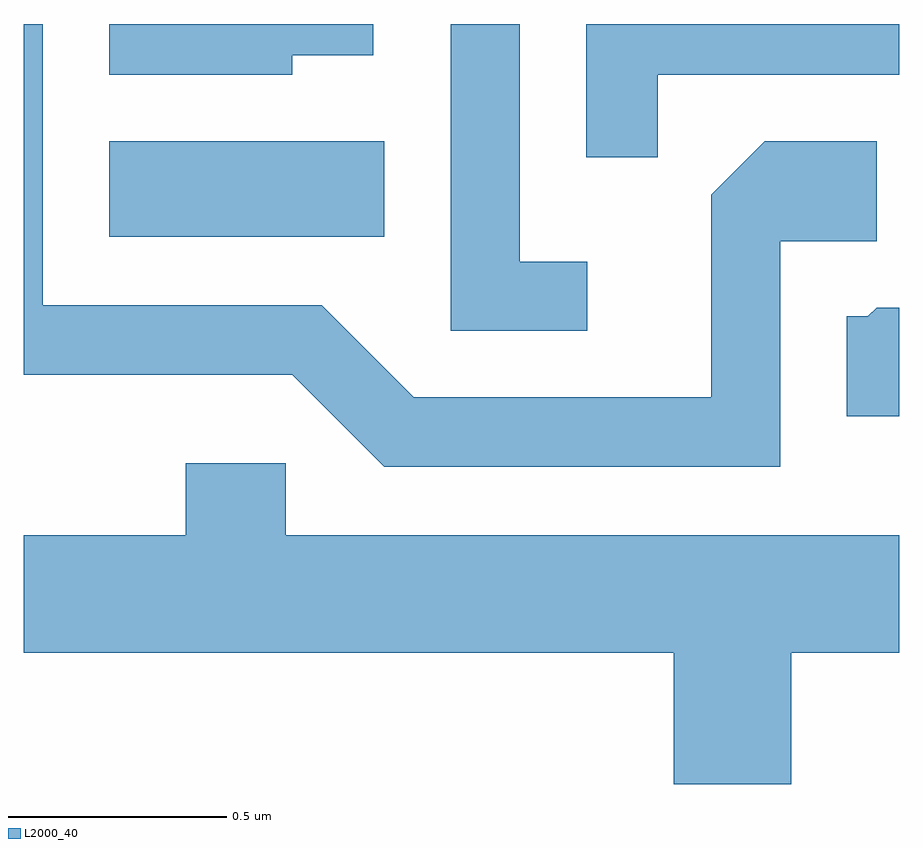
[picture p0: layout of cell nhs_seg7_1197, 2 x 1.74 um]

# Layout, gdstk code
import gdstk
lib = gdstk.Library(unit=1e-6, precision=1e-09)
def R(c, l, rs):  # rectangles x0, y0, x1, y1
    for r in rs: c.add(gdstk.rectangle(r[:2], r[2:], *l))
def P(c, l, *ps):  # polygons
    for p in ps: c.add(gdstk.Polygon(p, *l))
L2000_40 = (2000, 40)

nhs_seg7_1197 = lib.new_cell('nhs_seg7_1197')
R(nhs_seg7_1197, L2000_40, [(193.806,1770.766,194.434,1770.984)])
P(nhs_seg7_1197, L2000_40, [(194.224,1771.181),(194.409,1771.181),(194.409,1771.252),(193.806,1771.252),(193.806,1771.136),(194.224,1771.136)],
  [(195.059,1771.136),(195.611,1771.136),(195.611,1771.252),(194.896,1771.252),(194.896,1770.948),(195.059,1770.948)],
  [(194.898,1770.709),(194.744,1770.709),(194.744,1771.252),(194.586,1771.252),(194.586,1770.551),(194.898,1770.551)],
  [(195.339,1770.756),(195.559,1770.756),(195.559,1770.984),(195.304,1770.984),(195.181,1770.862),(195.181,1770.399),(194.502,1770.399),(194.292,1770.609),(193.654,1770.609),(193.654,1771.252),(193.611,1771.252),(193.611,1770.451),(194.224,1770.451),(194.434,1770.241),(195.339,1770.241)],
  [(195.611,1770.604),(195.559,1770.604),(195.539,1770.584),(195.491,1770.584),(195.491,1770.356),(195.611,1770.356)],
  [(195.364,1769.816),(195.611,1769.816),(195.611,1770.084),(194.209,1770.084),(194.209,1770.249),(193.981,1770.249),(193.981,1770.084),(193.611,1770.084),(193.611,1769.816),(195.096,1769.816),(195.096,1769.516),(195.364,1769.516)])

lib.write_gds('nhs_seg7_1197.gds')
